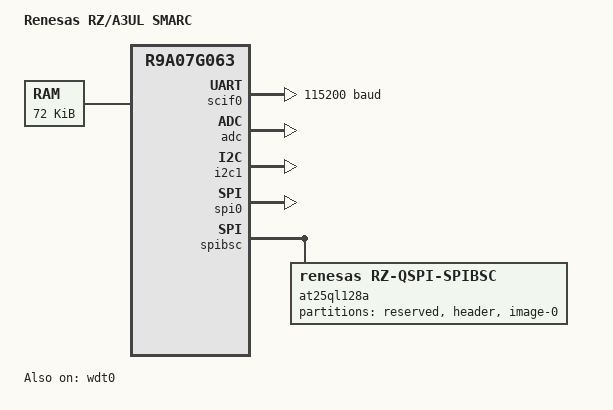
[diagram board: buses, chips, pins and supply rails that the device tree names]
/*
 * Copyright (c) 2025 Renesas Electronics Corporation
 * SPDX-License-Identifier: Apache-2.0
 */

/dts-v1/;

#include <zephyr/dt-bindings/memory-attr/memory-attr-arm.h>
#include <zephyr/dt-bindings/input/input-event-codes.h>
#include <zephyr/dt-bindings/gpio/renesas-rz-gpio.h>
#include <freq.h>
#include <arm64/renesas/rz/rza/r9a07g063.dtsi>
#include "rza3ul_smarc-pinctrl.dtsi"

/ {
	model = "Renesas RZ/A3UL SMARC";
	compatible = "renesas,rza3ul-smarc";

	chosen {
		zephyr,sram = &ddr;
		zephyr,flash = &at25ql128a;
		zephyr,console = &scif0;
		zephyr,shell-uart = &scif0;
		zephyr,code-partition = &slot0_partition;
	};

	aliases {
		watchdog0 = &wdt0;
	};

	ddr: memory@40200000 {
		compatible = "zephyr,memory-region", "mmio-sram";
		reg = <0x40200000 (DT_SIZE_M(1024) - 0x200000)>;
		zephyr,memory-region = "DDR";
	};

	sram: memory@1e000 {
		compatible = "zephyr,memory-region", "mmio-sram";
		reg = <0x1e000 DT_SIZE_K(72)>;
		zephyr,memory-region = "SRAM";
	};

};

&scif0 {
	current-speed = <115200>;
	pinctrl-0 = <&scif0_pins>;
	pinctrl-names = "default";
	status = "okay";
};

&adc {
	status = "okay";
};

&i2c1 {
	pinctrl-0 = <&i2c1_pins>;
	pinctrl-names = "default";
	status = "okay";
};

&spi0 {
	pinctrl-0 = <&spi0_pins>;
	pinctrl-names = "default";
	status = "okay";
};

&wdt0 {
	status = "okay";
};

&spibsc {
	status = "okay";

	at25ql128a: qspi-nor-flash@20000000 {
		compatible = "renesas,rz-qspi-spibsc";
		reg = <0x20000000 DT_SIZE_M(16)>; /* 128 Mbits */
		write-block-size = <1>;
		erase-block-size = <4096>;
		status = "okay";

		partitions {
			compatible = "fixed-partitions";
			#address-cells = <1>;
			#size-cells = <1>;

			reserved: partition@0 {
				reg = <0x00000000 0x20000>;
				read-only;
			};

			header: partition@20000 {
				label = "header";
				reg = <0x00020000 0x200>;
				read-only;
			};

			slot0_partition: partition@20200 {
				label = "image-0";
				reg = <0x00020200 (DT_SIZE_M(16) - 0x20200)>;
				read-only;
			};
		};
	};
};
